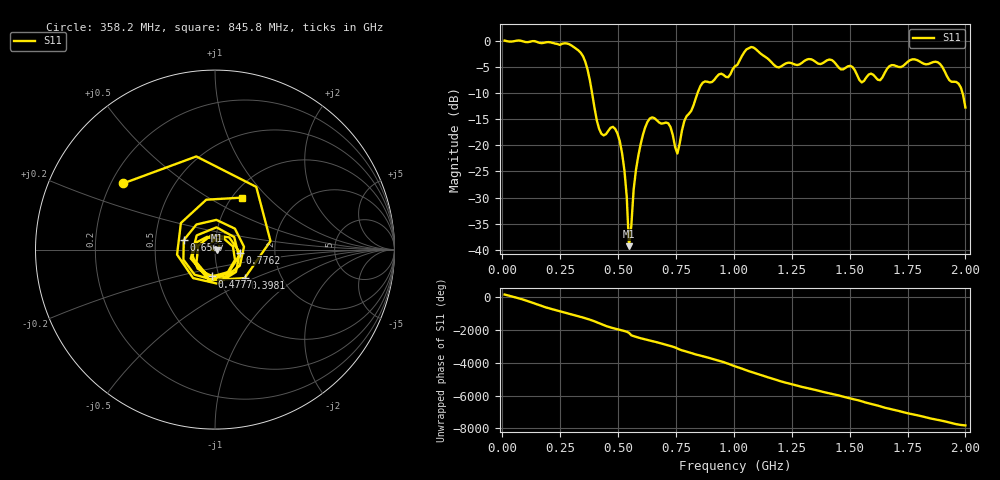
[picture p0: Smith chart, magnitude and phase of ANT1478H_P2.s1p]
!Created with skrf (http://scikit-rf.org).
# Hz S RI R 50.0
!freq ReS11 ImS11
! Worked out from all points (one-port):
!   201 points, 10 MHz to 2 GHz, reference 50 ohm
!   lowest |S11| = -39.3 dB at 547.3 MHz (marker M1), VSWR 1.02, Z = 51 - j0.455 ohm
!   |S11| at or under -10 dB: 387.7 MHz to 843.5 MHz (455.8 MHz wide, 74 % of centre); 1.988 GHz to end of sweep
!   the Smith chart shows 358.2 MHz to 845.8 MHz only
!   S11 on the Smith chart (normalised r, x): 358.2 MHz: 0.25, +0.30; 398.1 MHz: 1.31, -0.44; 477.6 MHz: 0.93, -0.28; 656.8 MHz: 0.70, +0.08; 776.1 MHz: 1.32, -0.04; 845.8 MHz: 1.11, +0.72
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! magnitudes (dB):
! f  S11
! 10 MHz  0.0
! 258.8 MHz  -0.6
! 358.2 MHz  -4.0
! 398.1 MHz  -12.8
! 427.9 MHz  -17.8
! 477.6 MHz  -16.5
! 507.5 MHz  -19.2
! 527.4 MHz  -24.8
! 537.4 MHz  -29.7
! 547.3 MHz  -39.3
! 567.2 MHz  -28.5
! 587.1 MHz  -22.1
! 626.9 MHz  -15.5
! 656.8 MHz  -14.8
! 716.5 MHz  -15.8
! 756.2 MHz  -21.6
! 776.1 MHz  -17.1
! 845.8 MHz  -9.7
! 1.005 GHz  -4.9
! 1.075 GHz  -1.2
! 1.184 GHz  -5.0
! 1.254 GHz  -4.4
! 1.502 GHz  -4.8
! 1.552 GHz  -8.0
! 1.751 GHz  -4.0
! 1.891 GHz  -4.5
! 1.98 GHz  -8.9
! 2 GHz  -12.8
